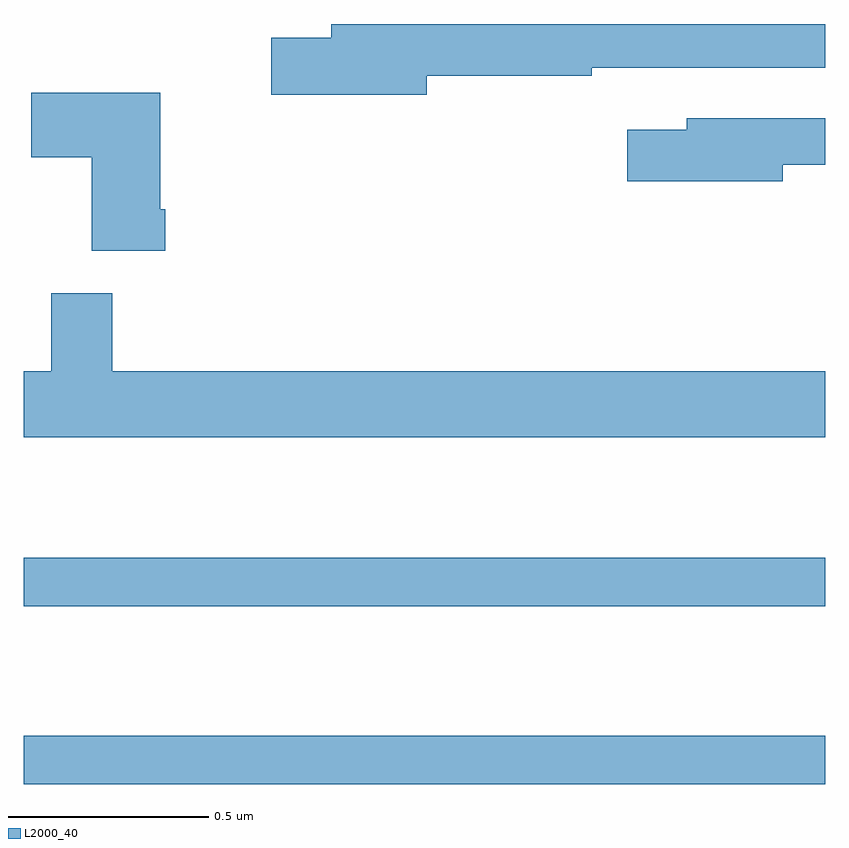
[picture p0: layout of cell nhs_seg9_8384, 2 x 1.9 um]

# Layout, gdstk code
import gdstk
lib = gdstk.Library(unit=1e-6, precision=1e-09)
def R(c, l, rs):  # rectangles x0, y0, x1, y1
    for r in rs: c.add(gdstk.rectangle(r[:2], r[2:], *l))
def P(c, l, *ps):  # polygons
    for p in ps: c.add(gdstk.Polygon(p, *l))
L2000_40 = (2000, 40)

nhs_seg9_8384 = lib.new_cell('nhs_seg9_8384')
R(nhs_seg9_8384, L2000_40, [(216,1219.53,218,1219.651), (216,1219.974,218,1220.095)])
P(nhs_seg9_8384, L2000_40, [(217.006,1221.298),(217.418,1221.298),(217.418,1221.318),(218,1221.318),(218,1221.427),(216.767,1221.427),(216.767,1221.393),(216.618,1221.393),(216.618,1221.251),(217.006,1221.251)],
  [(216.353,1220.965),(216.34,1220.965),(216.34,1221.256),(216.018,1221.256),(216.018,1221.094),(216.17,1221.094),(216.17,1220.861),(216.353,1220.861)],
  [(217.894,1221.076),(218,1221.076),(218,1221.192),(217.655,1221.192),(217.655,1221.163),(217.506,1221.163),(217.506,1221.034),(217.894,1221.034)],
  [(218,1220.56),(216.221,1220.56),(216.221,1220.755),(216.068,1220.755),(216.068,1220.56),(216,1220.56),(216,1220.396),(218,1220.396)])

lib.write_gds('nhs_seg9_8384.gds')
